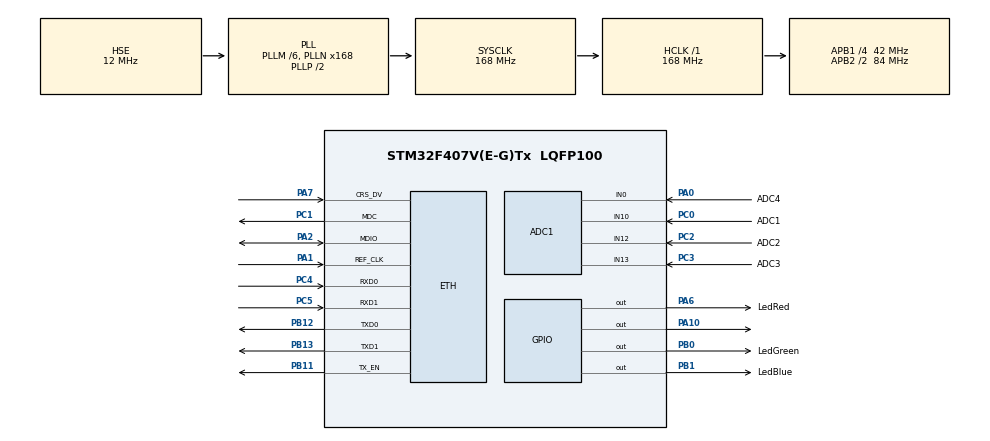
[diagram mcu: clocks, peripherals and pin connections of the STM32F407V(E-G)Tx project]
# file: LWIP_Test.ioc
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Mcu.Family=STM32F4
PA2.GPIO_PuPd=GPIO_PULLUP
PH0-OSC_IN.Signal=RCC_OSC_IN
RCC.CortexFreq_Value=168000000
ADC1.ContinuousConvMode=DISABLE
PC0.GPIO_Label=ADC1
PA6.GPIO_Label=LedRed
PB0.GPIO_Label=LedGreen
PC5.Mode=RMII
PB11.GPIO_PuPd=GPIO_PULLUP
PB11.Signal=ETH_TX_EN
PB13.Signal=ETH_TXD1
RCC.SYSCLKSource=RCC_SYSCLKSOURCE_PLLCLK
ProjectManager.StackSize=0x400
VP_FREERTOS_VS_CMSIS_V2.Mode=CMSIS_V2
LWIP.NETMASK_ADDRESS=255.255.255.000
LWIP.LWIP_HTTPD=0
ADC1.Channel-3\#ChannelRegularConversion=ADC_CHANNEL_0
RCC.HCLKFreq_Value=168000000
RCC.APB2TimFreq_Value=168000000
Dma.ADC1.0.Direction=DMA_PERIPH_TO_MEMORY
ADC1.Channel-2\#ChannelRegularConversion=ADC_CHANNEL_13
PC3.Signal=ADCx_IN13
NVIC.DMA2_Stream0_IRQn=true\:5\:0\:false\:false\:true\:true\:false\:true
PA1.GPIO_PuPd=GPIO_PULLUP
Dma.ADC1.0.MemDataAlignment=DMA_MDATAALIGN_WORD
RCC.AHBFreq_Value=168000000
PH0-OSC_IN.Mode=HSE-External-Oscillator
NVIC.ETH_IRQn=true\:5\:0\:false\:false\:true\:true\:false\:true
ADC1.Channel-0\#ChannelRegularConversion=ADC_CHANNEL_10
RCC.HSE_VALUE=12000000
PC1.GPIO_PuPd=GPIO_PULLUP
ADC1.Rank-2\#ChannelRegularConversion=3
PC14-OSC32_IN.Mode=LSE-External-Oscillator
PB1.GPIO_Label=LedBlue
Dma.ADC1.0.PeriphInc=DMA_PINC_DISABLE
SH.ADCx_IN0.0=ADC1_IN0,IN0
ADC1.SamplingTime-0\#ChannelRegularConversion=ADC_SAMPLETIME_3CYCLES
PH1-OSC_OUT.Mode=HSE-External-Oscillator
Mcu.Package=LQFP100
PB1.Signal=GPIO_Output
PA6.Signal=GPIO_Output
PB12.Mode=RMII
PA10.Signal=GPIO_Output
RCC.APB2CLKDivider=RCC_HCLK_DIV2
RCC.APB1TimFreq_Value=84000000
Dma.ADC1.0.FIFOMode=DMA_FIFOMODE_DISABLE
PC5.Signal=ETH_RXD1
PB13.Mode=RMII
Dma.Request0=ADC1
PC2.GPIO_Label=ADC2
PC4.Mode=RMII
LWIP.IP_ADDRESS=192.168.001.010
RCC.PLLSourceVirtual=RCC_PLLSOURCE_HSE
PC15-OSC32_OUT.Mode=LSE-External-Oscillator
LWIP.LWIP_LOOPIF_MULTICAST=1
SH.ADCx_IN13.0=ADC1_IN13,IN13
Dma.ADC1.0.Instance=DMA2_Stream0
FREERTOS.Tasks01=defaultTask,24,128,StartDefaultTask,Default,NULL,Dynamic,NULL,NULL
ADC1.Rank-0\#ChannelRegularConversion=1
PA7.Mode=RMII
PC4.GPIO_PuPd=GPIO_PULLUP
PC2.Signal=ADCx_IN12
PC4.Signal=ETH_RXD0
LWIP.LWIP_DHCP=0
PC0.Signal=ADCx_IN10
RCC.APB1CLKDivider=RCC_HCLK_DIV4
PC14-OSC32_IN.Signal=RCC_OSC32_IN
PC5.GPIO_PuPd=GPIO_PULLUP
ADC1.SamplingTime-2\#ChannelRegularConversion=ADC_SAMPLETIME_3CYCLES
PA0-WKUP.GPIO_Label=ADC4
PA0-WKUP.Signal=ADCx_IN0
VP_LWIP_VS_Enabled.Mode=Enabled
LWIP.GATEWAY_ADDRESS=192.168.001.001
LWIP.LWIP_DNS=1
Dma.ADC1.0.PeriphDataAlignment=DMA_PDATAALIGN_WORD
SH.ADCx_IN12.0=ADC1_IN12,IN12
PB11.Mode=RMII
ProjectManager.TargetToolchain=STM32CubeIDE
Dma.ADC1.0.Mode=DMA_CIRCULAR
Dma.ADC1.0.Priority=DMA_PRIORITY_LOW
ADC1.Channel-1\#ChannelRegularConversion=ADC_CHANNEL_12
PC15-OSC32_OUT.Signal=RCC_OSC32_OUT
PA7.GPIO_PuPd=GPIO_PULLUP
PA1.Signal=ETH_REF_CLK
board=custom
RCC.VCOOutputFreq_Value=336000000
PB13.GPIO_PuPd=GPIO_PULLUP
RCC.APB2Freq_Value=84000000
PA1.Mode=RMII
PH1-OSC_OUT.Signal=RCC_OSC_OUT
ADC1.DMAContinuousRequests=ENABLE
ADC1.NbrOfConversion=4
Mcu.Name=STM32F407V(E-G)Tx
PA2.Signal=ETH_MDIO
RCC.48MHZClocksFreq_Value=84000000
ADC1.SamplingTime-1\#ChannelRegularConversion=ADC_SAMPLETIME_3CYCLES
RCC.SYSCLKFreq_VALUE=168000000
ETH.MediaInterface=ETH_MEDIA_INTERFACE_RMII
ADC1.master=1
ADC1.Rank-3\#ChannelRegularConversion=4
ADC1.SamplingTime-3\#ChannelRegularConversion=ADC_SAMPLETIME_3CYCLES
ADC1.Rank-1\#ChannelRegularConversion=2
Dma.ADC1.0.MemInc=DMA_MINC_ENABLE
SH.ADCx_IN10.0=ADC1_IN10,IN10
ProjectManager.HeapSize=0x200
LWIP.Version=v2.1.2_Cube
RCC.HSI_VALUE=16000000
NVIC.PriorityGroup=NVIC_PRIORITYGROUP_4
ADC1.NbrOfConversionFlag=1
RCC.PLLM=6
RCC.PLLN=168
PA2.Mode=RMII
PC3.GPIO_Label=ADC3
PB12.GPIO_PuPd=GPIO_PULLUP
RCC.APB1Freq_Value=42000000
PB0.Signal=GPIO_Output
PC1.Signal=ETH_MDC
PB12.Signal=ETH_TXD0
PC1.Mode=RMII
PA7.Signal=ETH_CRS_DV

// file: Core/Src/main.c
/* USER CODE BEGIN Header */
/**
  ******************************************************************************
  * @file           : main.c
  * @brief          : Main program body
  ******************************************************************************
  * @attention
  *
  * <h2><center>&copy; Copyright (c) 2021 STMicroelectronics.
  * All rights reserved.</center></h2>
  *
  * This software component is licensed by ST under BSD 3-Clause license,
  * the "License"; You may not use this file except in compliance with the
  * License. You may obtain a copy of the License at:
  *                        opensource.org/licenses/BSD-3-Clause
  *
  ******************************************************************************
  */
/* USER CODE END Header */
#include "main.h"
#include "cmsis_os.h"
#include "lwip.h"

/* USER CODE BEGIN Includes */

#include "das.h"
#include "tcpdas.h"
#include "datareaddas.h"
#include "connection_pipeline.h"
#include "tcpecho.h"
#include "opt.h"
#include "api.h"
#include "sys.h"
#include "FreeRTOS.h"
#include "task.h"
#include "string.h"
#include "lwip/sockets.h"
/* USER CODE END Includes */

ADC_HandleTypeDef hadc1;
DMA_HandleTypeDef hdma_adc1;

/* Definitions for defaultTask */
osThreadId_t defaultTaskHandle;
const osThreadAttr_t defaultTask_attributes = {
  .name = "defaultTask",
  .stack_size = 128 * 4,
  .priority = (osPriority_t) osPriorityNormal,
};

void SystemClock_Config(void);
static void MX_GPIO_Init(void);
static void MX_DMA_Init(void);
static void MX_ADC1_Init(void);
void StartDefaultTask(void *argument);

/* USER CODE BEGIN PFP */

void ConnectionListenTask(void *argument);
void StartServerTask1(void *argument);
void StartNetTask1(void *argument);
void ConnectionsCounter(void *argument);
/* USER CODE END PFP */

int main(void)
{

  /* MCU Configuration--------------------------------------------------------*/

  /* Reset of all peripherals, Initializes the Flash interface and the Systick. */
  HAL_Init();

  /* Configure the system clock */
  SystemClock_Config();

  /* Initialize all configured peripherals */
  MX_GPIO_Init();
  MX_DMA_Init();
  MX_ADC1_Init();

  /* Init scheduler */
  osKernelInitialize();

  /* Create the thread(s) */
  /* creation of defaultTask */
  defaultTaskHandle = osThreadNew(StartDefaultTask, NULL, &defaultTask_attributes);

  /* USER CODE BEGIN RTOS_THREADS */
  /* add threads, ... */
  // serverTaskHandle = osThreadNew(ConnectionListenTask, NULL, &serverTask_attributes);
  // serverTaskHandle = osThreadNew(ConnectionsCounter, NULL, &serverTask_attributes);

  /* USER CODE END RTOS_THREADS */

  /* Start scheduler */
  osKernelStart();

  /* We should never get here as control is now taken by the scheduler */
  /* Infinite loop */
  while (1)
  {

  }
}

void SystemClock_Config(void)
{
  RCC_OscInitTypeDef RCC_OscInitStruct = {0};
  RCC_ClkInitTypeDef RCC_ClkInitStruct = {0};

  /** Configure the main internal regulator output voltage
  */
  __HAL_RCC_PWR_CLK_ENABLE();
  __HAL_PWR_VOLTAGESCALING_CONFIG(PWR_REGULATOR_VOLTAGE_SCALE1);
  /** Initializes the RCC Oscillators according to the specified parameters
  * in the RCC_OscInitTypeDef structure.
  */
  RCC_OscInitStruct.OscillatorType = RCC_OSCILLATORTYPE_HSE;
  RCC_OscInitStruct.HSEState = RCC_HSE_ON;
  RCC_OscInitStruct.PLL.PLLState = RCC_PLL_ON;
  RCC_OscInitStruct.PLL.PLLSource = RCC_PLLSOURCE_HSE;
  RCC_OscInitStruct.PLL.PLLM = 6;
  RCC_OscInitStruct.PLL.PLLN = 168;
  RCC_OscInitStruct.PLL.PLLP = RCC_PLLP_DIV2;
  RCC_OscInitStruct.PLL.PLLQ = 4;
  if (HAL_RCC_OscConfig(&RCC_OscInitStruct) != HAL_OK)
  {
    Error_Handler();
  }
  /** Initializes the CPU, AHB and APB buses clocks
  */
  RCC_ClkInitStruct.ClockType = RCC_CLOCKTYPE_HCLK|RCC_CLOCKTYPE_SYSCLK
                              |RCC_CLOCKTYPE_PCLK1|RCC_CLOCKTYPE_PCLK2;
  RCC_ClkInitStruct.SYSCLKSource = RCC_SYSCLKSOURCE_PLLCLK;
  RCC_ClkInitStruct.AHBCLKDivider = RCC_SYSCLK_DIV1;
  RCC_ClkInitStruct.APB1CLKDivider = RCC_HCLK_DIV4;
  RCC_ClkInitStruct.APB2CLKDivider = RCC_HCLK_DIV2;

  if (HAL_RCC_ClockConfig(&RCC_ClkInitStruct, FLASH_LATENCY_5) != HAL_OK)
  {
    Error_Handler();
  }
}

static void MX_ADC1_Init(void)
{

  ADC_ChannelConfTypeDef sConfig = {0};

  /** Configure the global features of the ADC (Clock, Resolution, Data Alignment and number of conversion)
  */
  hadc1.Instance = ADC1;
  hadc1.Init.ClockPrescaler = ADC_CLOCK_SYNC_PCLK_DIV4;
  hadc1.Init.Resolution = ADC_RESOLUTION_12B;
  hadc1.Init.ScanConvMode = ENABLE;
  hadc1.Init.ContinuousConvMode = DISABLE;
  hadc1.Init.DiscontinuousConvMode = DISABLE;
  hadc1.Init.ExternalTrigConvEdge = ADC_EXTERNALTRIGCONVEDGE_NONE;
  hadc1.Init.ExternalTrigConv = ADC_SOFTWARE_START;
  hadc1.Init.DataAlign = ADC_DATAALIGN_RIGHT;
  hadc1.Init.NbrOfConversion = 4;
  hadc1.Init.DMAContinuousRequests = ENABLE;
  hadc1.Init.EOCSelection = ADC_EOC_SINGLE_CONV;
  if (HAL_ADC_Init(&hadc1) != HAL_OK)
  {
    Error_Handler();
  }
  /** Configure for the selected ADC regular channel its corresponding rank in the sequencer and its sample time.
  */
  sConfig.Channel = ADC_CHANNEL_10;
  sConfig.Rank = 1;
  sConfig.SamplingTime = ADC_SAMPLETIME_3CYCLES;
  if (HAL_ADC_ConfigChannel(&hadc1, &sConfig) != HAL_OK)
  {
    Error_Handler();
  }
  /** Configure for the selected ADC regular channel its corresponding rank in the sequencer and its sample time.
  */
  sConfig.Channel = ADC_CHANNEL_12;
  sConfig.Rank = 2;
  if (HAL_ADC_ConfigChannel(&hadc1, &sConfig) != HAL_OK)
  {
    Error_Handler();
  }
  /** Configure for the selected ADC regular channel its corresponding rank in the sequencer and its sample time.
  */
  sConfig.Channel = ADC_CHANNEL_13;
  sConfig.Rank = 3;
  if (HAL_ADC_ConfigChannel(&hadc1, &sConfig) != HAL_OK)
  {
    Error_Handler();
  }
  /** Configure for the selected ADC regular channel its corresponding rank in the sequencer and its sample time.
  */
  sConfig.Channel = ADC_CHANNEL_0;
  sConfig.Rank = 4;
  if (HAL_ADC_ConfigChannel(&hadc1, &sConfig) != HAL_OK)
  {
    Error_Handler();
  }

}

static void MX_DMA_Init(void)
{

  /* DMA controller clock enable */
  __HAL_RCC_DMA2_CLK_ENABLE();

  /* DMA interrupt init */
  /* DMA2_Stream0_IRQn interrupt configuration */
  HAL_NVIC_SetPriority(DMA2_Stream0_IRQn, 5, 0);
  HAL_NVIC_EnableIRQ(DMA2_Stream0_IRQn);

}

static void MX_GPIO_Init(void)
{
  GPIO_InitTypeDef GPIO_InitStruct = {0};

  /* GPIO Ports Clock Enable */
  __HAL_RCC_GPIOC_CLK_ENABLE();
  __HAL_RCC_GPIOH_CLK_ENABLE();
  __HAL_RCC_GPIOA_CLK_ENABLE();
  __HAL_RCC_GPIOB_CLK_ENABLE();

  /*Configure GPIO pin Output Level */
  HAL_GPIO_WritePin(GPIOA, LedRed_Pin|GPIO_PIN_10, GPIO_PIN_RESET);

  /*Configure GPIO pin Output Level */
  HAL_GPIO_WritePin(GPIOB, LedGreen_Pin|LedBlue_Pin, GPIO_PIN_RESET);

  /*Configure GPIO pins : LedRed_Pin PA10 */
  GPIO_InitStruct.Pin = LedRed_Pin|GPIO_PIN_10;
  GPIO_InitStruct.Mode = GPIO_MODE_OUTPUT_PP;
  GPIO_InitStruct.Pull = GPIO_NOPULL;
  GPIO_InitStruct.Speed = GPIO_SPEED_FREQ_LOW;
  HAL_GPIO_Init(GPIOA, &GPIO_InitStruct);

  /*Configure GPIO pins : LedGreen_Pin LedBlue_Pin */
  GPIO_InitStruct.Pin = LedGreen_Pin|LedBlue_Pin;
  GPIO_InitStruct.Mode = GPIO_MODE_OUTPUT_PP;
  GPIO_InitStruct.Pull = GPIO_NOPULL;
  GPIO_InitStruct.Speed = GPIO_SPEED_FREQ_LOW;
  HAL_GPIO_Init(GPIOB, &GPIO_InitStruct);

}

/* USER CODE BEGIN 4 */

typedef struct struct_sock_t {
  uint16_t y_pos;
  uint16_t port;
} struct_sock;

struct_sock sock01, sock02;

typedef struct struct_client_socket_t {
  struct sockaddr_in remotehost;
  socklen_t sockaddrsize;
  int accept_sock;
  uint16_t y_pos;
} struct_client_socket;

struct_client_socket client_socket01;

uint32_t value[4];

void StartNetTask(void *argument)
{
//	struct netconn *conn, *newconn;
//	struct netbuf *buf;
//	volatile err_t err;
//	struct_sock *arg_sock;
//	arg_sock = (struct_sock*) argument;
//	conn = arg_sock->conn;
//
//	u16_t len;
//	void *data;
//
//	for(;;)
//	{
//		if((err = netconn_accept(conn, &newconn)) == ERR_OK)
//		{
//			while((err = netconn_recv(newconn, &buf)) == ERR_OK)
//			{
//				do
//				{
//					  netbuf_data(buf, &data, &len);
//					  uint16_t das_len = das_read(data, len);
//
//					  if(das_len > 0)
//					  {
//						  HAL_GPIO_WritePin(GPIOB, LedBlue_Pin, GPIO_PIN_SET);
//						  netconn_write(newconn, data, das_len, NETCONN_COPY);
//					  }
//					  else
//					  {
//						  HAL_GPIO_WritePin(GPIOA, LedRed_Pin, GPIO_PIN_SET);
//						  netconn_write(newconn, data, len, NETCONN_COPY);
//					  }
//
//				}
//				while (netbuf_next(buf) >= 0);
//
//				netbuf_delete(buf);
//
//				HAL_GPIO_WritePin(GPIOB, LedBlue_Pin, GPIO_PIN_RESET);
//				HAL_GPIO_WritePin(GPIOA, LedRed_Pin, GPIO_PIN_RESET);
//			}
//
//			netconn_close(newconn);
//			netconn_delete(newconn);
//		}
//
//		osDelay(1);
//	}
}

struct netconn ** connection_pool;
int next_connection = 0;
int connections = 0;

// create here net lestenter task
void ConnectionListenTask(void *argument)
{
	struct netconn *conn; // , *newconn;
	volatile err_t err;
	int active_connections = 0;
	int thread_count = 0;
	char buffer [11];
	struct netbuf *buf;

	u16_t len;
	void *data;

	// initialize connection pool
	connection_pool = malloc(10 * sizeof(struct netconn *));

	// LWIP_UNUSED_ARG(argument);

	// waiting for connection
	conn = netconn_new(NETCONN_TCP);

	if(conn != NULL)
	{
		if((err = netconn_bind(conn, NULL, 8082)) == ERR_OK)
		{
			// listen for new connection
			netconn_listen(conn);

			while(1)
			{
				// create new connection
				struct netconn * newconn = malloc(sizeof(struct netconn *));
				if((err = netconn_accept(conn, &newconn)) == ERR_OK)
				{
					// serverTaskHandle = osThreadNew(StartNetTask1, (void*)&newconn, &serverTask_attributes);

//					while((err = netconn_recv(newconn, &buf)) == ERR_OK)
//					{
//						do
//						{
//							HAL_GPIO_WritePin(GPIOB, LedBlue_Pin, GPIO_PIN_SET);
////							netbuf_data(buf, &data, &len);
////							netconn_write(newconn, data, len, NETCONN_COPY);
//
//
//							// read das data
//						  uint16_t das_len = das_read(data, len);
//
//						  if(das_len > 0)
//						  {
//							  HAL_GPIO_WritePin(GPIOB, LedBlue_Pin, GPIO_PIN_SET);
//							  netconn_write(newconn, data, das_len, NETCONN_COPY);
//						  }
//						  else
//						  {
//							  HAL_GPIO_WritePin(GPIOA, LedRed_Pin, GPIO_PIN_SET);
//							  netconn_write(newconn, data, len, NETCONN_COPY);
//						  }
//						}
//						while (netbuf_next(buf) >= 0);
//
//						HAL_GPIO_WritePin(GPIOB, LedBlue_Pin, GPIO_PIN_RESET);
//						HAL_GPIO_WritePin(GPIOA, LedRed_Pin, GPIO_PIN_RESET);
//
//						netbuf_delete(buf);
//
//						osDelay(1);
//					}

//					HAL_GPIO_WritePin(GPIOB, LedBlue_Pin, GPIO_PIN_SET);
//					struct_sock socket;
//					socket.conn = newconn;
//					osThreadNew(StartNetTask1, (void*)&socket, &serverTask_attributes);
				}

				osDelay(1);
			}
		}
		else
		{
			netconn_delete(conn);
		}
	}
}

void ConnectionsCounter(void *argument)
{
	for(;;)
	{
		osDelay(10000);
		// HAL_NVIC_SystemReset();
	}
}

void StartNetTask1(void *argument)
{
	struct netconn * newconn = (struct netconn *)argument;
	volatile err_t err;
	struct netbuf *buf;

	u16_t len;
	void *data;

	while((err = netconn_recv(newconn, &buf)) == ERR_OK)
	{
		do
		{
		  netbuf_data(buf, &data, &len);
		  uint16_t das_len = das_read(data, len);

		  HAL_GPIO_WritePin(GPIOB, LedBlue_Pin, GPIO_PIN_SET);

		  if(das_len > 0)
		  {
			  HAL_GPIO_WritePin(GPIOB, LedBlue_Pin, GPIO_PIN_SET);
			  netconn_write(newconn, data, das_len, NETCONN_COPY);
		  }
		  else
		  {
			  HAL_GPIO_WritePin(GPIOA, LedRed_Pin, GPIO_PIN_SET);
			  netconn_write(newconn, data, len, NETCONN_COPY);
		  }

		}
		while (netbuf_next(buf) >= 0);

		HAL_GPIO_WritePin(GPIOB, LedBlue_Pin, GPIO_PIN_RESET);
		// HAL_GPIO_WritePin(GPIOA, LedRed_Pin, GPIO_PIN_RESET);

		netbuf_delete(buf);
	}

	netconn_close(newconn);
	netconn_delete(newconn);

	for(;;)
	{
		osThreadTerminate(NULL);
		osDelay(1);
	}
}

unsigned char *out_buffer;

static void client_socket_thread(void *arg)
{
	int buflen = 150;
	uint8_t buffer [buflen];
	int ret, accept_sock;
	struct sockaddr_in remotehost;
	socklen_t sockaddrsize;
	struct_client_socket  *arg_client_socket;
	arg_client_socket = (struct_client_socket *) arg;
	uint16_t das_len;

	remotehost = arg_client_socket->remotehost;
	sockaddrsize = arg_client_socket->sockaddrsize;
	accept_sock = arg_client_socket->accept_sock;

	for(;;)
	{
		ret = recvfrom(accept_sock, buffer, buflen, 0, (struct sockaddr *)&remotehost, &sockaddrsize);
		if(ret > 0)
		{
			// HAL_GPIO_WritePin(GPIOB, LedGreen_Pin, GPIO_PIN_SET);
//			out_buffer[ret] = 0;
//
//			if(strcmp((char*)out_buffer, "-c") == 0)
//			{
//				// HAL_GPIO_WritePin(GPIOB, LedGreen_Pin, GPIO_PIN_RESET);
//				close(accept_sock);
//				osThreadTerminate(NULL);
//			}

//			if(strcmp((char*)out_buffer, "\r\n") != 0)
//			{
//				strcat((char*)out_buffer,"\r\n");
//				out_buffer[ret] = 0;
//				strcat((char*)out_buffer,"\r\n");
//				sendto(accept_sock, buffer, ret, 0, (struct sockaddr *)&remotehost, sockaddrsize);
//			}
//			else
//			{
//				das_len = sprintf(buffer, "Hello, world!%d", xPortGetMinimumEverFreeHeapSize());
//				sendto(accept_sock, buffer, ret, 0, (struct sockaddr *)&remotehost, sockaddrsize);
//			}
//
//			das_len = sprintf(buffer, "Hello, world!%d", xPortGetMinimumEverFreeHeapSize());
//			sendto(accept_sock, buffer, das_len, 0, (struct sockaddr *)&remotehost, sockaddrsize);

			// sendto(accept_sock, buffer, ret, 0, (struct sockaddr *)&remotehost, sockaddrsize);
//
			das_len = das_read(buffer, ret);
//
//			HAL_GPIO_WritePin(GPIOB, LedBlue_Pin, GPIO_PIN_SET);
//
			if(das_len > 0)
			{
			  //HAL_GPIO_WritePin(GPIOB, LedBlue_Pin, GPIO_PIN_SET);
			  sendto(accept_sock, buffer, das_len, 0, (struct sockaddr *)&remotehost, sockaddrsize);
			}
			else
			{
			  //HAL_GPIO_WritePin(GPIOA, LedRed_Pin, GPIO_PIN_SET);
			  sendto(accept_sock, buffer, ret, 0, (struct sockaddr *)&remotehost, sockaddrsize);
			}

//			close(accept_sock);
//			osThreadTerminate(NULL);
//
//			HAL_GPIO_WritePin(GPIOB, LedBlue_Pin, GPIO_PIN_RESET);
//			HAL_GPIO_WritePin(GPIOA, LedRed_Pin, GPIO_PIN_RESET);
		} else {
			close(accept_sock);
			osThreadTerminate(NULL);
		}

	}
}

static void tcp_thread(void *arg)
{
	MX_LWIP_Init();

	struct_sock *arg_sock;
	int sock, accept_sock;
	struct sockaddr_in address, remotehost;
	socklen_t sockaddrsize;
	arg_sock = (struct_sock*) arg;

	if((sock = socket(AF_INET, SOCK_STREAM, 0)) >= 0)
	{
		address.sin_family = AF_INET;
		address.sin_port = htons(8082);
		address.sin_addr.s_addr = INADDR_ANY;

		if(bind(sock, (struct sockaddr *)&address, sizeof(address)) == 0)
		{
			// HAL_GPIO_WritePin(GPIOB, LedGreen_Pin, GPIO_PIN_SET);
			listen(sock, 5);
			for(;;)
			{
				accept_sock = accept(sock, (struct sockaddr *)&remotehost, (socklen_t *)&sockaddrsize);
				if(accept_sock >= 0)
				{
					client_socket01.accept_sock = accept_sock;
					client_socket01.remotehost = remotehost;
					client_socket01.sockaddrsize = sockaddrsize;
					client_socket01.y_pos = arg_sock->y_pos;
					sys_thread_new("client_socket_thread", client_socket_thread, (void*)&client_socket01, DEFAULT_THREAD_STACKSIZE, osPriorityNormal);

					// close(sock);
					// HAL_GPIO_WritePin(GPIOB, LedGreen_Pin, GPIO_PIN_RESET);
					// osThreadTerminate(NULL);
				}
			}
		}
		else
		{
			close(sock);
			osThreadTerminate(NULL);
		}
	}
}

static void myrg() {
	osDelay(300);
	HAL_GPIO_WritePin(GPIOB, LedGreen_Pin, GPIO_PIN_RESET);

	for(;;) {
		osDelay(1000);
		HAL_GPIO_TogglePin(GPIOB, LedGreen_Pin);
//		NVIC_SystemReset();
//		HAL_NVIC_SystemReset();
	}
}

/* USER CODE END 4 */

void StartDefaultTask(void *argument)
{
  /* init code for LWIP */
  // MX_LWIP_Init();
  /* USER CODE BEGIN 5 */

  	HAL_GPIO_WritePin(GPIOB, LedGreen_Pin, GPIO_PIN_SET);

	// Init DAS
	DAS_Init();

	sock01.port = 8082;
	sock01.y_pos = 60;
	sys_thread_new("tcp_thread", tcp_thread, (void*)&sock01, DEFAULT_THREAD_STACKSIZE * 2, osPriorityNormal);

	sys_thread_new("myrg", myrg, NULL, DEFAULT_THREAD_STACKSIZE, osPriorityRealtime7);

    // prepare ADC to read data
    HAL_ADC_Start_DMA(&hadc1, value, 4);

  /* Infinite loop */
	for(;;)
	{
		// osThreadTerminate(NULL);
		HAL_ADC_Start_DMA(&hadc1, value, 4);
		DAS_SetAnalogChannelValue(0, value[0]);
		DAS_SetAnalogChannelValue(1, value[1]);
		DAS_SetAnalogChannelValue(2, value[2]);
		DAS_SetAnalogChannelValue(3, value[3]);

		sys_check_timeouts();

		osDelay(100);
	}

  /* USER CODE END 5 */
}

void Error_Handler(void)
{
  __disable_irq();
  while (1)
  {
  }
}

/************************ (C) COPYRIGHT STMicroelectronics *****END OF FILE****/
